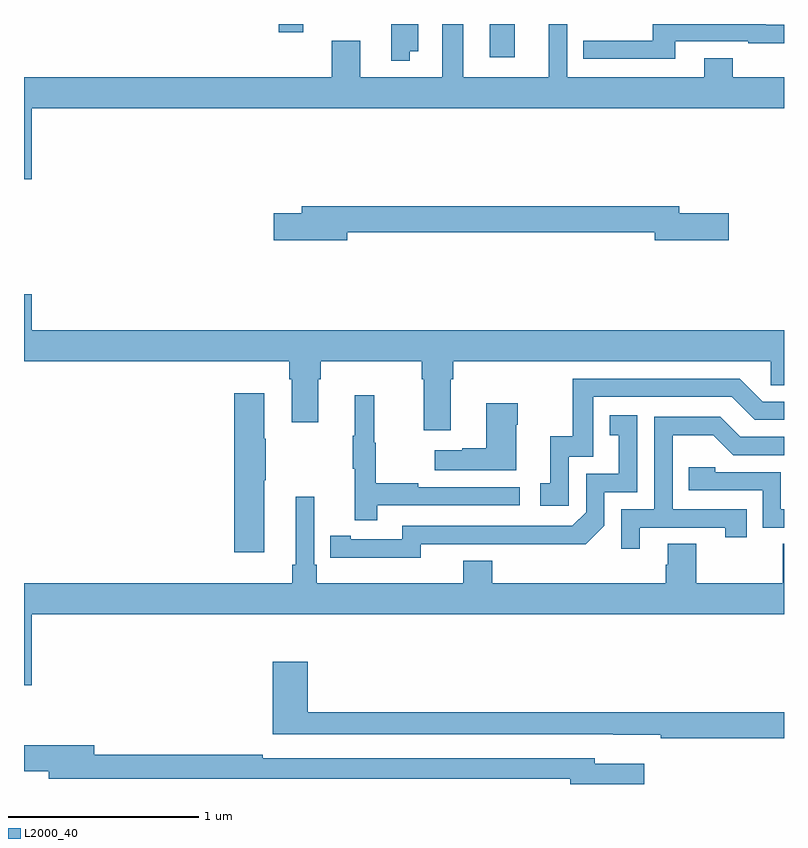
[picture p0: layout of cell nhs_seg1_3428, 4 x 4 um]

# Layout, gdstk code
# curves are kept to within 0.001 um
import gdstk
lib = gdstk.Library(unit=1e-6, precision=1e-09)
def R(c, l, rs):  # rectangles x0, y0, x1, y1
    for r in rs: c.add(gdstk.rectangle(r[:2], r[2:], *l))
def P(c, l, *ps):  # polygons
    for p in ps: c.add(gdstk.Polygon(p, *l))
L2000_40 = (2000, 40)

nhs_seg1_3428 = lib.new_cell('nhs_seg1_3428')
R(nhs_seg1_3428, L2000_40, [(299.45,528.024,299.584,528.199), (298.34,528.156,298.471,528.199), (298.562,528.197,298.684,528.199)])
P(nhs_seg1_3428, L2000_40, [(297.04,527.756),(301,527.756),(301,527.92),(300.729,527.92),(300.729,528.019),(300.581,528.019),(300.581,527.92),(299.859,527.92),(299.859,528.199),(299.762,528.199),(299.762,527.92),(299.311,527.92),(299.311,528.199),(299.201,528.199),(299.201,527.92),(298.771,527.92),(298.771,528.112),(298.619,528.112),(298.619,527.92),(297,527.92),(297,527.382),(297.04,527.382)],
  [(300.427,528.108),(300.813,528.108),(300.813,528.098),(301,528.098),(301,528.195),(300.903,528.195),(300.903,528.199),(300.308,528.199),(300.308,528.111),(299.944,528.111),(299.944,528.015),(300.427,528.015)],
  [(299.029,528.056),(299.074,528.056),(299.074,528.199),(298.932,528.199),(298.932,528.005),(299.029,528.005)],
  [(298.702,527.104),(300.32,527.104),(300.32,527.062),(300.709,527.062),(300.709,527.204),(300.448,527.204),(300.448,527.24),(298.463,527.24),(298.463,527.204),(298.314,527.204),(298.314,527.062),(298.702,527.062)],
  [(299.245,526.328),(299.258,526.328),(299.258,526.424),(300.93,526.424),(300.93,526.297),(301,526.297),(301,526.588),(297.04,526.588),(297.04,526.777),(297,526.777),(297,526.424),(298.397,526.424),(298.397,526.328),(298.409,526.328),(298.409,526.104),(298.549,526.104),(298.549,526.328),(298.562,526.328),(298.562,526.424),(299.093,526.424),(299.093,526.328),(299.105,526.328),(299.105,526.062),(299.245,526.062)],
  [(299.868,525.921),(299.997,525.921),(299.997,526.236),(300.726,526.236),(300.846,526.116),(301,526.116),(301,526.212),(300.888,526.212),(300.768,526.332),(299.889,526.332),(299.889,526.03),(299.771,526.03),(299.771,525.783),(299.718,525.783),(299.718,525.663),(299.868,525.663)],
  [(298.264,525.799),(298.272,525.799),(298.272,526.016),(298.264,526.016),(298.264,526.255),(298.106,526.255),(298.106,525.42),(298.264,525.42)],
  [(298.859,525.666),(299.608,525.666),(299.608,525.762),(299.075,525.762),(299.075,525.782),(298.852,525.782),(298.852,525.996),(298.844,525.996),(298.844,526.246),(298.742,526.246),(298.742,526.033),(298.731,526.033),(298.731,525.859),(298.742,525.859),(298.742,525.588),(298.859,525.588)],
  [(299.59,526.091),(299.598,526.091),(299.598,526.204),(299.432,526.204),(299.432,525.965),(299.306,525.965),(299.306,525.955),(299.163,525.955),(299.163,525.851),(299.59,525.851)],
  [(299.088,525.462),(299.956,525.461),(300.054,525.558),(300.054,525.735),(300.228,525.735),(300.228,526.141),(300.082,526.141),(300.082,526.035),(300.131,526.035),(300.131,525.831),(299.958,525.831),(299.958,525.63),(299.886,525.558),(298.992,525.558),(298.992,525.486),(298.72,525.486),(298.72,525.506),(298.612,525.506),(298.612,525.39),(299.088,525.389)],
  [(300.241,525.549),(300.692,525.549),(300.692,525.498),(300.803,525.498),(300.803,525.645),(300.414,525.645),(300.414,526.034),(300.628,526.034),(300.732,525.93),(301,525.93),(301,526.026),(300.769,526.026),(300.664,526.131),(300.318,526.131),(300.318,525.645),(300.144,525.645),(300.144,525.438),(300.241,525.438)],
  [(301,525.645),(300.984,525.645),(300.984,525.84),(300.639,525.84),(300.639,525.867),(300.499,525.867),(300.499,525.744),(300.888,525.744),(300.888,525.549),(301,525.549)],
  [(301,525.464),(300.994,525.464),(300.994,525.256),(300.537,525.256),(300.537,525.464),(300.389,525.464),(300.389,525.354),(300.377,525.354),(300.377,525.256),(299.465,525.256),(299.465,525.373),(299.312,525.373),(299.312,525.256),(298.541,525.256),(298.541,525.352),(298.527,525.352),(298.527,525.712),(298.43,525.712),(298.43,525.352),(298.411,525.352),(298.411,525.256),(297,525.256),(297,524.718),(297.04,524.718),(297.04,525.092),(301,525.092)],
  [(301,524.576),(298.493,524.576),(298.493,524.842),(298.31,524.842),(298.31,524.46),(300.1,524.46),(300.1,524.459),(300.352,524.459),(300.352,524.44),(301,524.44)],
  [(300.265,524.305),(300.004,524.305),(300.004,524.334),(298.256,524.334),(298.256,524.354),(297.37,524.354),(297.37,524.402),(297,524.402),(297,524.267),(297.131,524.267),(297.131,524.226),(299.876,524.226),(299.876,524.199),(300.265,524.199)])

lib.write_gds('nhs_seg1_3428.gds')
